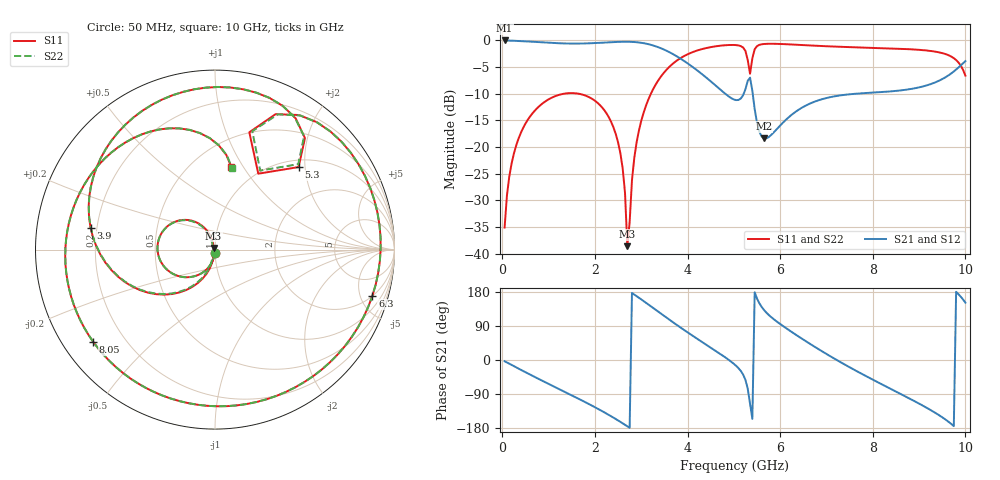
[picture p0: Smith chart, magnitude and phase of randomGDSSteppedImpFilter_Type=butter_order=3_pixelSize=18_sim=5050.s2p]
! freq	dB(S11)	phase(S11)	dB(S12)	phase(S12)
!  dB(S21)	phase(S21)	dB(S22)	phase(S22)
!S-par simulation data
#  GHz  S  DB  R 50
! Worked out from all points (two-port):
!   200 points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, 50 MHz to 10 GHz, reference 50 ohm
!   highest |S21| = 0.00 dB at 50 MHz (marker M1); lowest = -18.4 dB at 5.65 GHz (marker M2)
!   |S21| within 3 dB of the highest: start of sweep to 3.773 GHz
!   lowest |S11| = -38.6 dB at 2.7 GHz (marker M3), VSWR 1.02, Z = 49.2 + j0.832 ohm
!   |S11| at or under -10 dB: start of sweep to 1.329 GHz; 1.653 GHz to 3.209 GHz (1.555 GHz wide, 64 % of centre)
!   |S22| runs from -36.7 to -0.6 dB; largest |S21 - S12| = 0
!   S11 on the Smith chart (normalised r, x): 50 MHz: 1.00, -0.04; 3.9 GHz: 0.18, +0.08; 5.3 GHz: 1.15, +1.85; 6.3 GHz: 2.03, -6.33; 8.05 GHz: 0.09, -0.33; 10 GHz: 0.76, +0.89
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0.05  -35.08 -93.1  -0.00 -3.3  -0.00 -3.3  -35.08 -93.1
0.2  -23.12 -103.1  -0.05 -13.0  -0.05 -13.0  -23.12 -103.1
0.5  -15.60 -122.8  -0.17 -32.2  -0.17 -32.2  -15.60 -122.7
1.75  -10.21 161.0  -0.57 -108.7  -0.57 -108.7  -10.20 161.3
2.45  -17.54 115.6  -0.29 -155.7  -0.29 -155.7  -17.53 117.1
2.6  -24.02 107.2  -0.25 -167.1  -0.25 -167.1  -23.96 110.7
2.7  -38.58 134.1  -0.25 -175.0  -0.25 -175.0  -36.66 146.6
2.9  -19.13 -105.8  -0.34 168.5  -0.34 168.5  -19.10 -108.1
3.4  -7.08 -147.1  -1.37 124.7  -1.37 124.7  -7.08 -147.7
3.9  -3.05 170.0  -3.70 81.3  -3.70 81.3  -3.05 169.8
4.4  -1.44 129.6  -6.93 40.6  -6.93 40.6  -1.43 129.5
5.05  -0.88 75.2  -11.19 -15.5  -11.19 -15.5  -0.87 75.4
5.3  -3.68 44.6  -7.57 -75.7  -7.57 -75.7  -3.55 45.7
5.4  -3.34 73.7  -9.47 -155.4  -9.47 -155.4  -3.21 72.5
5.65  -0.67 40.5  -18.37 132.2  -18.37 132.2  -0.66 40.2
6.3  -0.78 -16.3  -13.59 69.8  -13.59 69.8  -0.78 -16.4
6.7  -0.97 -48.2  -11.63 38.3  -11.63 38.3  -0.97 -48.3
7.35  -1.21 -96.1  -10.24 -9.0  -10.24 -9.0  -1.21 -96.1
8.05  -1.40 -142.8  -9.76 -55.0  -9.76 -55.0  -1.40 -142.8
8.35  -1.48 -161.8  -9.58 -73.9  -9.58 -73.9  -1.48 -161.9
9.45  -2.27 126.2  -7.48 -147.1  -7.48 -147.1  -2.27 126.1
10  -6.61 78.7  -3.88 151.4  -3.88 151.4  -6.64 78.2
